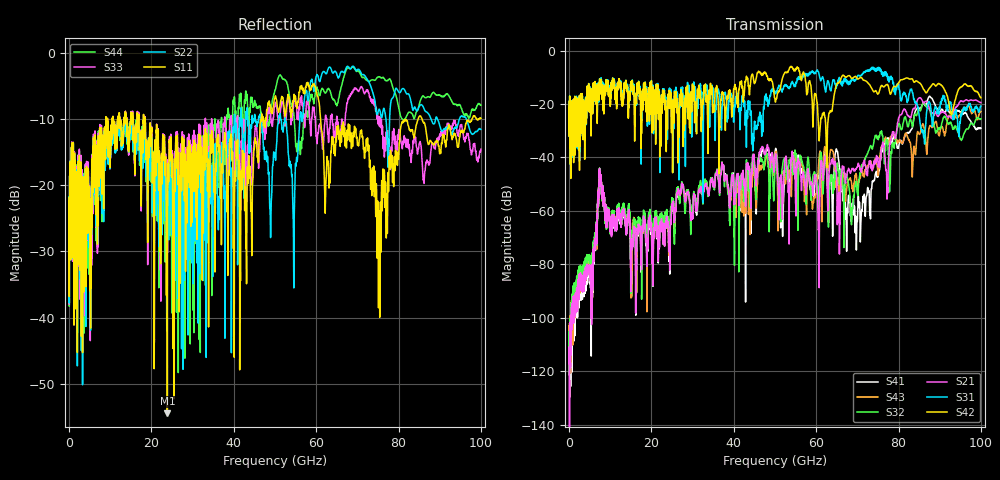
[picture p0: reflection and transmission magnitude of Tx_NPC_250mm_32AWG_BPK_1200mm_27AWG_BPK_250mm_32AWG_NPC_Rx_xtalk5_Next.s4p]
! Info: Touchstone file created by Circ.  Input file=Tx_NPC_250mm_32AWG_BPK_1200mm_27AWG_BPK_250mm_32AWG_NPC_Rx.circ
# Hz S RI R 50
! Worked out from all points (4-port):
!   10000 points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, 10 MHz to 100 GHz, reference 50 ohm
!   strongest paths, dB at 10 MHz, 25.01 GHz, 50.01 GHz, 75.01 GHz, 100 GHz:
!     S42: -26.4, -19.9, -18.4, -16.3, -17.6
!     S31: -26.4, -18.6, -15.4, -6.7, -20.8
!     S21: -117.2, -57.5, -40.5, -41.2, -19.5
!     S32: -105.1, -55.1, -44.4, -32.8, -25.5
!     S43: -103.0, -56.6, -39.5, -45.9, -22.7
!     S41: -115.6, -58.2, -38.3, -47.3, -29.0
!   lowest |S11| = -54.4 dB at 23.86 GHz (marker M1), VSWR 1.00, Z = 50.2 - j0.0989 ohm
!   |S11| at or under -10 dB: 18.46 GHz to 46.66 GHz (28.2 GHz wide, 86.6 % of centre); 61.06 GHz to 84.77 GHz (23.71 GHz wide, 32.5 % of centre); 85.69 GHz to 97.84 GHz (12.15 GHz wide, 13.2 % of centre) (the widest 3 of 41)
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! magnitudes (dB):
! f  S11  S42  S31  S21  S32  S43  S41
! 10 MHz  -22.5  -26.4  -26.4  -117.2  -105.1  -103.0  -115.6
! 5.59 GHz  -24.7  -15.6  -15.6  -82.0  -76.9  -79.1  -83.6
! 7.71 GHz  -13.7  -11.9  -11.2  -46.4  -46.7  -46.7  -46.4
! 23.86 GHz  -54.4  -28.3  -28.3  -64.9  -62.4  -64.8  -65.8
! 48.07 GHz  -8.7  -9.5  -18.3  -35.9  -38.6  -39.4  -37.1
! 69.62 GHz  -11.5  -9.7  -11.0  -44.3  -49.2  -46.2  -62.5
! 100 GHz  -9.9  -17.6  -20.8  -19.5  -25.5  -22.7  -29.0
